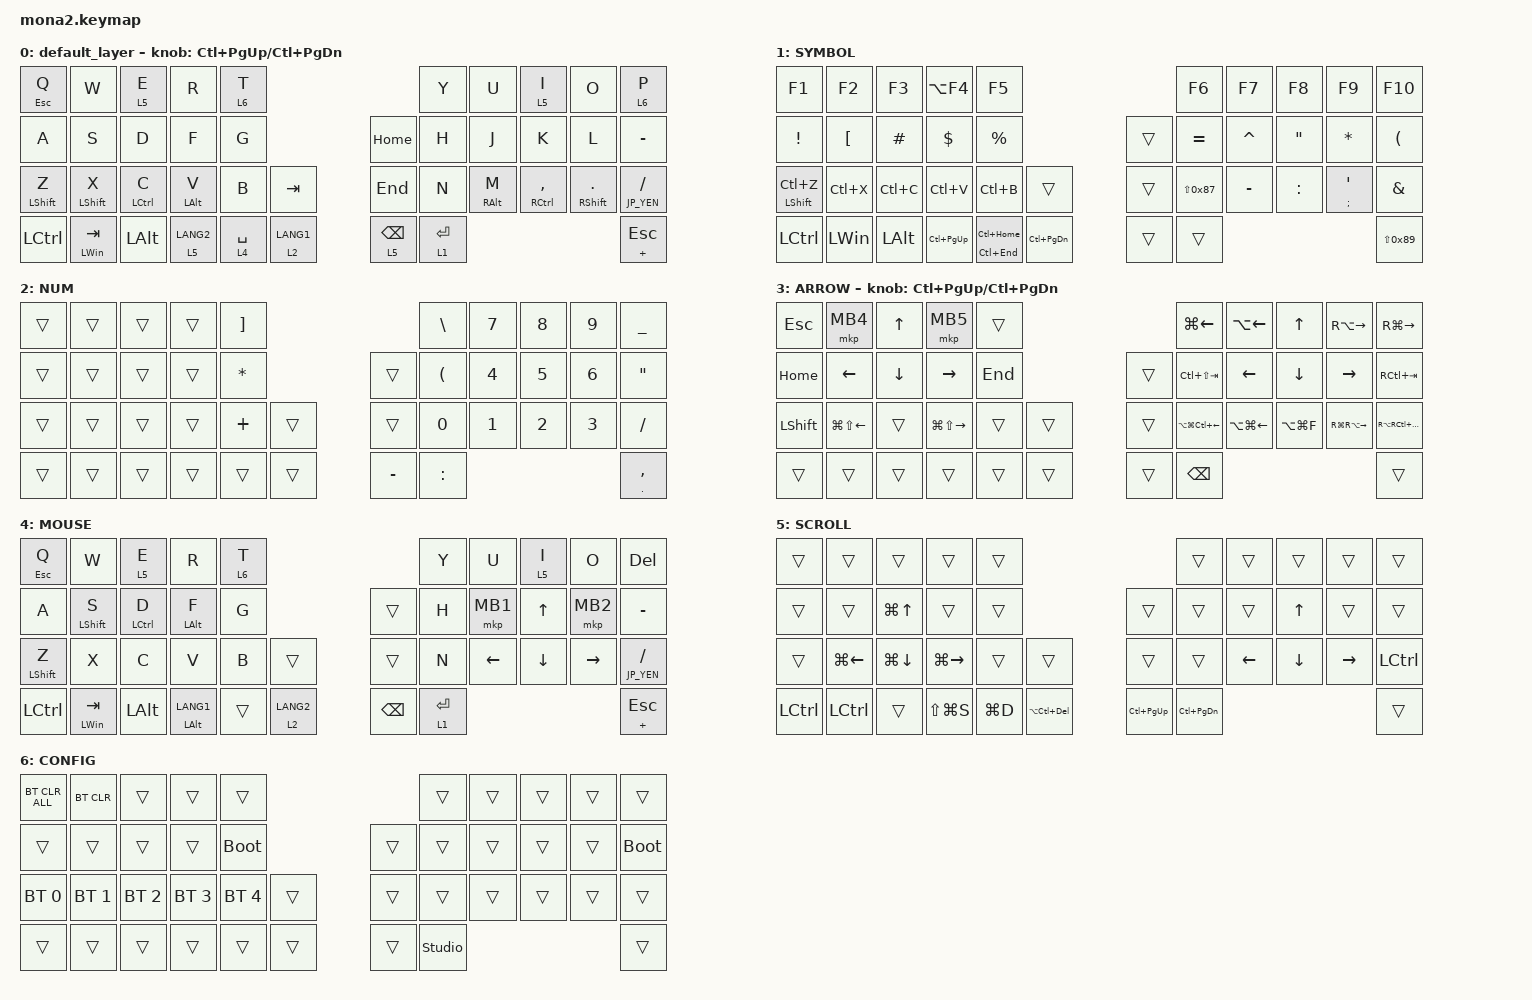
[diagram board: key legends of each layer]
#include <input/processors.dtsi>
#include <dt-bindings/zmk/input_transform.h>
#include <zephyr/dt-bindings/input/input-event-codes.h>
#include <behaviors.dtsi>
#include <dt-bindings/zmk/bt.h>
#include <dt-bindings/zmk/keys.h>
#include <dt-bindings/zmk/pointing.h>

#define ZMK_POINTING_DEFAULT_SCRL_VAL 100
#define MOUSE 4
#define SCROLL 5
#define CONFIG 6

// OS設定を日本語キーボードのまま使用するための変換定義

#define JP_DQUOTE       AT                // "
#define JP_AMPERSAND    CARET             // &
#define JP_QUOTE        AMPERSAND         // '
#define JP_EQUAL        UNDER             // =
#define JP_CARET        EQUAL             // ^
#define JP_YEN          0x89              // ¥
#define JP_PLUS         COLON             // +
#define JP_TILDE        PLUS              // ~
#define JP_PIPE         LS(0x89)          // |
#define JP_AT           LEFT_BRACKET      // @
#define JP_COLON        SINGLE_QUOTE      // :
#define JP_ASTERISK     DOUBLE_QUOTES     // *
#define JP_BACKQUOTE    LEFT_BRACE        // `
#define JP_UNDERSCORE   LS(0x87)          // _
#define JP_LBRACKET     RIGHT_BRACKET     // [
#define JP_RBRACKET     BACKSLASH         // ]
#define JP_LPAREN       ASTERISK          // (
#define JP_RPAREN       LEFT_PARENTHESIS  // )
#define JP_LBRACE       RIGHT_BRACE       // {
#define JP_RBRACE       PIPE              // }
#define JP_KANA         LANGUAGE_1        // かな
#define JP_EISU         LANGUAGE_2        // 英数
#define JP_HANZEN       GRAVE             // 半角/全角

&mt {
    flavor = "tap-preferred";
    require-prior-idle-ms = <200>;
    quick-tap-ms = <300>;
};

&lt {
    flavor = "balanced";
    require-prior-idle-ms = <200>;
    quick-tap-ms = <300>;
};

/ {
    combos {
        compatible = "zmk,combos";

        combo_lc_pgup {
            timeout-ms = <50>;
            key-positions = <36 37>;
            bindings = <&kp LC(PAGE_UP)>;
        };

        combo_lc_pgdn {
            timeout-ms = <50>;
            key-positions = <37 38>;
            bindings = <&kp LC(PAGE_DOWN)>;
        };

        combo_lclk {
            timeout-ms = <50>;
            key-positions = <17 18>;
            bindings = <&mkp LCLK>;
        };

        combo_rclk {
            timeout-ms = <50>;
            key-positions = <18 19>;
            bindings = <&mkp RCLK>;
        };

        combo_mclk {
            bindings = <&mkp MCLK>;
            key-positions = <17 19>;
        };

        combo_esc {
            bindings = <&kp ESCAPE>;
            key-positions = <11 12>;
        };

        combo_tab {
            bindings = <&kp TAB>;
            key-positions = <12 13>;
        };
    };

/**********
    behaviors {

        lt_to_layer_0: lt_to_layer_0 {
            compatible = "zmk,behavior-hold-tap";
            label = "LAYER_TAP_TO_0";
            bindings = <&mo>, <&to_layer_0>;

            #binding-cells = <2>;
            tapping-term-ms = <200>;
        };


        scroll_up_down: mouse_wheel_up_down {
            compatible = "zmk,behavior-sensor-rotate";
            #sensor-binding-cells = <0>;
            bindings = <&msc SCRL_DOWN>, <&msc SCRL_UP>;

            tap-ms = <20>;
        };

        scroll_right_left: mouse_wheel_right_left {
            compatible = "zmk,behavior-sensor-rotate";
            #sensor-binding-cells = <0>;
            bindings = <&msc SCRL_LEFT>, <&msc SCRL_RIGHT>;

            tap-ms = <20>;
        };
    };

**********/

    keymap {
        compatible = "zmk,keymap";

        default_layer {
            bindings = <
&mt ESCAPE Q      &kp W             &lt 5 E       &kp R           &lt 6 T                                      &kp Y        &kp U            &lt 5 I          &kp O                   &lt 6 P
&kp A             &kp S             &kp D         &kp F           &kp G                       &kp HOME         &kp H        &kp J            &kp K            &kp L                   &kp MINUS
&mt LEFT_SHIFT Z  &mt LEFT_SHIFT X  &mt LCTRL C   &mt LEFT_ALT V  &kp B        &kp TAB        &kp END          &kp N        &mt RIGHT_ALT M  &mt RCTRL COMMA  &mt RIGHT_SHIFT PERIOD  &mt JP_YEN SLASH
&kp LCTRL         &mt LEFT_WIN TAB  &kp LEFT_ALT  &lt 5 LANG2     &lt 4 SPACE  &lt 2 LANG1    &lt 5 BACKSPACE  &lt 1 ENTER                                                            &mt JP_TILDE ESCAPE
            >;

            sensor-bindings = <&inc_dec_kp LC(PAGE_UP) LC(PAGE_DOWN)>;
        };

        SYMBOL {
            bindings = <
&kp F1                &kp F2        &kp F3        &kp LA(F4)       &kp F5                                             &kp F6             &kp F7            &kp F8           &kp F9                  &kp F10
&kp EXCLAMATION       &kp JP_AT     &kp HASH      &kp DOLLAR       &kp PERCENT                                &trans  &kp JP_CARET       &kp JP_AMPERSAND  &kp JP_ASTERISK  &kp JP_LPAREN           &kp JP_RPAREN
&mt LEFT_SHIFT LC(Z)  &kp LC(X)     &kp LC(C)     &kp LC(V)        &kp LC(B)             &trans               &trans  &kp JP_UNDERSCORE  &kp MINUS         &kp JP_PLUS      &mt SEMICOLON JP_COLON  &kp JP_QUOTE
&kp LCTRL             &kp LEFT_WIN  &kp LEFT_ALT  &kp LC(PAGE_UP)  &mt LC(END) LC(HOME)  &kp LC(PAGE_DOWN)    &trans  &trans                                                                        &kp JP_PIPE
            >;
        };

        NUM {
            bindings = <
&trans  &trans  &trans  &trans  &kp JP_LBRACKET                       &kp JP_RBRACKET  &kp NUMBER_7  &kp NUMBER_8  &kp NUMBER_9  &kp JP_EQUAL
&trans  &trans  &trans  &trans  &kp JP_LPAREN              &trans     &kp JP_RPAREN    &kp NUMBER_4  &kp NUMBER_5  &kp NUMBER_6  &kp JP_ASTERISK
&trans  &trans  &trans  &trans  &kp JP_TILDE     &trans    &trans     &kp NUMBER_0     &kp NUMBER_1  &kp NUMBER_2  &kp NUMBER_3  &kp SLASH
&trans  &trans  &trans  &trans  &trans           &trans    &kp MINUS  &kp JP_PLUS                                                &mt PERIOD COMMA
            >;
        };

        ARROW {
            bindings = <
&kp ESCAPE      &mkp MB4                &kp UP_ARROW    &mkp MB5                 &trans                     &kp LG(LEFT_ARROW)          &kp LA(LEFT_ARROW)      &kp UP_ARROW    &kp RA(RIGHT_ARROW)      &kp RG(RIGHT_ARROW)
&kp HOME        &kp LEFT_ARROW          &kp DOWN_ARROW  &kp RIGHT_ARROW          &kp END            &trans  &kp LC(LS(TAB))             &kp LEFT_ARROW          &kp DOWN_ARROW  &kp RIGHT_ARROW          &kp RC(TAB)
&kp LEFT_SHIFT  &kp LG(LS(LEFT_ARROW))  &trans          &kp LG(LS(RIGHT_ARROW))  &trans   &trans    &trans  &kp LA(LG(LC(LEFT_ARROW)))  &kp LA(LG(LEFT_ARROW))  &kp LA(LG(F))   &kp RG(RA(RIGHT_ARROW))  &kp RA(RC(RG(RIGHT_ARROW)))
&trans          &trans                  &trans          &trans                   &trans   &trans    &trans  &kp BACKSPACE                                                                                &trans
            >;

            sensor-bindings = <&inc_dec_kp LC(PAGE_UP) LC(PAGE_DOWN)>;
        };

        MOUSE {
            bindings = <
&mt ESCAPE Q      &kp W             &lt 5 E       &kp R               &lt 6 T                                &kp Y        &kp U           &lt 5 I         &kp O            &kp DELETE
&kp A             &mt LEFT_SHIFT S  &mt LCTRL D   &mt LEFT_ALT F      &kp G                   &trans         &kp H        &mkp MB1        &kp UP_ARROW    &mkp MB2         &kp MINUS
&mt LEFT_SHIFT Z  &kp X             &kp C         &kp V               &kp B    &trans         &trans         &kp N        &kp LEFT_ARROW  &kp DOWN_ARROW  &kp RIGHT_ARROW  &mt JP_YEN SLASH
&kp LCTRL         &mt LEFT_WIN TAB  &kp LEFT_ALT  &mt LEFT_ALT LANG1  &trans   &lt 2 LANG2    &kp BACKSPACE  &lt 1 ENTER                                                   &mt JP_TILDE ESCAPE
            >;
        };

        SCROLL {
            bindings = <
&trans     &trans              &trans              &trans               &trans                                         &trans             &trans          &trans          &trans           &trans
&trans     &trans              &kp LG(UP_ARROW)    &trans               &trans                        &trans           &trans             &trans          &kp UP_ARROW    &trans           &trans
&trans     &kp LG(LEFT_ARROW)  &kp LG(DOWN_ARROW)  &kp LG(RIGHT_ARROW)  &trans     &trans             &trans           &trans             &kp LEFT_ARROW  &kp DOWN_ARROW  &kp RIGHT_ARROW  &kp LCTRL
&kp LCTRL  &kp LCTRL           &trans              &kp LS(LG(S))        &kp LG(D)  &kp LA(LC(DEL))    &kp LC(PAGE_UP)  &kp LC(PAGE_DOWN)                                                   &trans
            >;
        };

        CONFIG {
            bindings = <
&bt BT_CLR_ALL  &bt BT_CLR    &trans        &trans        &trans                          &trans          &trans  &trans  &trans  &trans
&trans          &trans        &trans        &trans        &bootloader             &trans  &trans          &trans  &trans  &trans  &bootloader
&bt BT_SEL 0    &bt BT_SEL 1  &bt BT_SEL 2  &bt BT_SEL 3  &bt BT_SEL 4  &trans    &trans  &trans          &trans  &trans  &trans  &trans
&trans          &trans        &trans        &trans        &trans        &trans    &trans  &studio_unlock                          &trans
            >;
        };
    };
};

/*****************************************************
#define MOUSE 5
#define SCROLL 6

&mt {
    flavor = "balanced";
    quick-tap-ms = <0>;
};

&lt {
    quick-tap-ms = <300>;
    flavor = "balanced";
};

/ {
    combos {
        compatible = "zmk,combos";

        layer4_ESC {
            bindings = <&lt 4 ESC>;
            key-positions = <39 38>;
        };

        tab {
            bindings = <&kp TAB>;
            key-positions = <11 12>;
        };
    };

    macros {
        to_layer_0: to_layer_0 {
            compatible = "zmk,behavior-macro-one-param";
            #binding-cells = <1>;
            bindings = <&to 0 &macro_param_1to1 &kp MACRO_PLACEHOLDER>;
            label = "TO_LAYER_0";
        };
    };

    behaviors {
        lt_to_layer_0: lt_to_layer_0 {
            compatible = "zmk,behavior-hold-tap";
            label = "LAYER_TAP_TO_0";
            bindings = <&mo>, <&to_layer_0>;

            #binding-cells = <2>;
            tapping-term-ms = <200>;
        };

        scroll_up_down: mouse_wheel_up_down {
            compatible = "zmk,behavior-sensor-rotate";
            #sensor-binding-cells = <0>;
            bindings = <&msc SCRL_DOWN>, <&msc SCRL_UP>;

            tap-ms = <20>;
        };

        scroll_right_left: mouse_wheel_right_left {
            compatible = "zmk,behavior-sensor-rotate";
            #sensor-binding-cells = <0>;
            bindings = <&msc SCRL_LEFT>, <&msc SCRL_RIGHT>;

            tap-ms = <20>;
        };
    };

    keymap {
        compatible = "zmk,keymap";

        default_layer {
            bindings = <
&kp Q             &kp W         &kp E    &kp R          &kp T                                                          &kp Y        &kp U  &kp I      &kp O    &kp P
&kp A             &kp S         &kp D    &kp F          &kp G                                  &kp F13                 &kp H        &kp J  &kp K      &kp L    &kp SEMICOLON
&mt LEFT_SHIFT Z  &kp X         &kp C    &kp V          &kp B        &kp F14                   &kp F15                 &kp N        &kp M  &kp COMMA  &kp DOT  &kp SLASH
&kp LCTRL         &kp LEFT_WIN  &kp F16  &kp BACKSPACE  &lt 2 ENTER  &lt_to_layer_0 3 LANG2    &lt_to_layer_0 3 LANG1  &lt 1 SPACE                             &kp LEFT_ALT
            >;

            sensor-bindings = <&scroll_up_down>;
        };

        layer_1 {
            bindings = <
&kp NUMBER_1  &kp NUMBER_2  &kp NUMBER_3      &kp NUMBER_4       &kp NUMBER_5                    &kp NUMBER_6  &kp NUMBER_7          &kp NUMBER_8           &kp NUMBER_9  &kp NUMBER_0
&trans        &trans        &kp LEFT_BRACKET  &kp RIGHT_BRACKET  &trans                  &trans  &trans        &kp LEFT_PARENTHESIS  &kp RIGHT_PARENTHESIS  &trans        &kp BACKSLASH
&trans        &trans        &trans            &trans             &trans        &trans    &trans  &trans        &trans                &trans                 &trans        &kp PIPE
&trans        &trans        &trans            &trans             &trans        &trans    &trans  &trans                                                                   &trans
            >;

            sensor-bindings = <&scroll_right_left>;
        };

        layer_2 {
            bindings = <
&kp EXCLAMATION  &kp AT_SIGN  &kp POUND          &kp DOLLAR  &kp PERCENT                      &kp CARET  &kp AMPERSAND  &kp ASTERISK  &kp MINUS  &kp UNDERSCORE
&kp GRAVE        &kp TILDE    &kp DOUBLE_QUOTES  &kp SQT     &trans                  &trans   &mkp MB3   &mkp MB1       &mkp MB2      &kp EQUAL  &kp PLUS
&kp F1           &kp F2       &kp F3             &kp F4      &kp F5       &kp F11    &kp F12  &kp F6     &kp F7         &kp F8        &kp F9     &kp F10
&trans           &trans       &trans             &trans      &trans       &trans     &trans   &trans                                             &trans
            >;

            sensor-bindings = <&scroll_up_down>;
        };

        layer_3 {
            bindings = <
&trans  &kp LC(LS(TAB))     &kp PRINTSCREEN         &kp LC(TAB)              &trans                                     &trans  &kp HOME        &kp UP_ARROW    &kp END          &trans
&trans  &kp LG(LEFT_ARROW)  &kp LG(RIGHT_ARROW)     &kp LC(LG(LEFT_ARROW))   &kp LC(LG(RIGHT_ARROW))            &trans  &trans  &kp LEFT_ARROW  &kp DOWN_ARROW  &kp RIGHT_ARROW  &trans
&trans  &kp LEFT_SHIFT      &kp LG(LS(LEFT_ARROW))  &kp LG(LS(RIGHT_ARROW))  &trans                   &trans    &trans  &trans  &kp DELETE      &kp PAGE_UP     &kp PAGE_DOWN    &trans
&trans  &trans              &trans                  &trans                   &trans                   &trans    &trans  &trans                                                   &trans
            >;

            sensor-bindings = <&inc_dec_kp C_VOL_DN C_VOL_UP>;
        };

        layer_4 {
            bindings = <
&trans  &trans  &trans  &trans  &trans                         &bt BT_SEL 0  &bt BT_SEL 1  &bt BT_SEL 2  &bt BT_SEL 3  &bt BT_SEL 4
&trans  &trans  &trans  &trans  &trans            &trans       &trans        &trans        &trans        &trans        &trans
&trans  &trans  &trans  &trans  &trans  &trans    &bootloader  &trans        &trans        &trans        &trans        &bt BT_CLR
&trans  &trans  &trans  &trans  &trans  &trans    &trans       &trans                                                  &bt BT_CLR_ALL
            >;

            sensor-bindings = <&scroll_up_down>;
        };

        MOUSE {
            bindings = <
&trans  &trans    &trans    &trans    &trans                    &trans  &trans    &trans    &trans    &trans
&trans  &mkp MB3  &mkp MB2  &mkp MB1  &trans            &trans  &trans  &mkp MB1  &mkp MB2  &mkp MB3  &trans
&trans  &trans    &trans    &trans    &trans  &trans    &trans  &trans  &trans    &trans    &trans    &trans
&trans  &trans    &trans    &trans    &trans  &trans    &trans  &trans                                &trans
            >;

            sensor-bindings = <&scroll_up_down>;
        };

        SCROLL {
            bindings = <
&trans  &trans  &trans  &trans  &trans                    &trans  &trans  &trans  &trans  &trans
&trans  &trans  &trans  &trans  &trans            &trans  &trans  &trans  &trans  &trans  &trans
&trans  &trans  &trans  &trans  &trans  &trans    &trans  &trans  &trans  &trans  &trans  &trans
&trans  &trans  &trans  &trans  &trans  &trans    &trans  &trans                          &trans
            >;

            sensor-bindings = <&scroll_up_down>;
        };
    };
};
*********************************************************/
